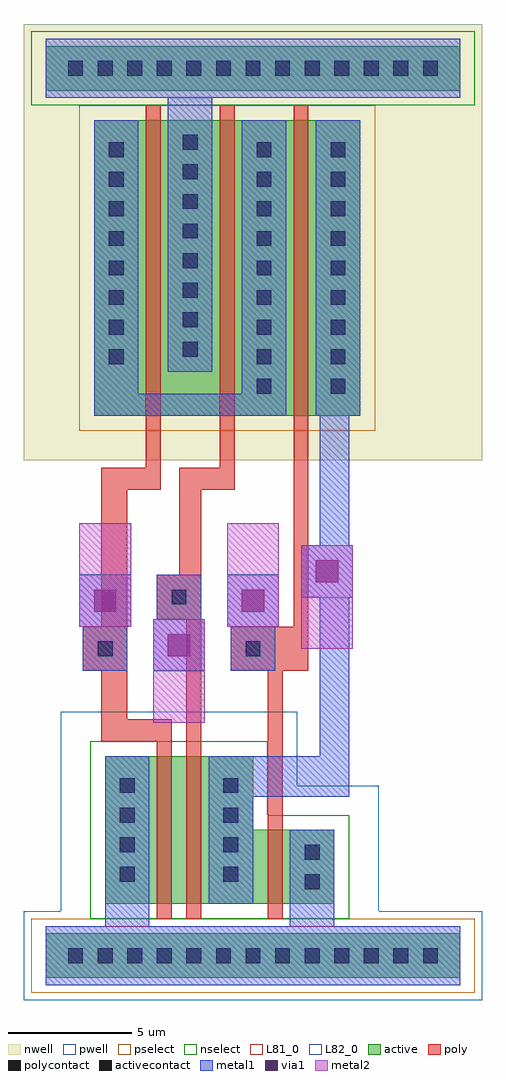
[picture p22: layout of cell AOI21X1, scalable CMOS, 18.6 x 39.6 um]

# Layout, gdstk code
import gdstk
lib = gdstk.Library(unit=1e-6, precision=1e-09)
def R(c, l, rs):  # rectangles x0, y0, x1, y1
    for r in rs: c.add(gdstk.rectangle(r[:2], r[2:], *l))
def A(c, l, x, y, w, h, nx, ny, dx, dy):  # array of equal rectangles
    R(c, l, [(x+i*dx, y+j*dy, x+i*dx+w, y+j*dy+h) for i in range(nx) for j in range(ny)])
pwell = (41, 0)
nwell = (42, 0)
active = (43, 0)
pselect = (44, 0)
nselect = (45, 0)
poly = (46, 0)
polycontact = (47, 0)
activecontact = (48, 0)
metal1 = (49, 0)
via1 = (50, 0)
metal2 = (51, 0)
L81_0 = (81, 0)
L82_0 = (82, 0)

aoi21x1 = lib.new_cell('AOI21X1')
R(aoi21x1, pwell, [(-1.8,-1.8,16.8,1.8), (-0.3,1.8,12.6,6.9), (-0.3,6.9,9.3,9.9)])
R(aoi21x1, nwell, [(-1.8,20.1,16.8,37.8)])
R(aoi21x1, active, [(-0.9,-0.9,15.9,0.9), (1.5,2.1,10.8,5.1), (1.5,5.1,7.5,8.1), (1.05,21.9,11.85,33.9), (-0.9,35.1,15.9,36.9)])
R(aoi21x1, pselect, [(-1.5,-1.5,16.5,1.5), (0.45,21.3,12.45,34.5)])
R(aoi21x1, nselect, [(0.9,1.5,11.4,5.7), (0.9,5.7,8.1,8.7), (-1.5,34.5,16.5,37.5)])
R(aoi21x1, poly, [(3.6,1.5,4.2,8.7), (4.8,1.5,5.4,13.65), (8.1,1.5,8.7,11.55), (1.35,8.7,4.2,9.6), (1.35,9.6,2.4,11.55), (0.6,11.55,2.4,13.35), (6.6,11.55,9.75,13.35), (1.35,13.35,2.4,18.9), (9.15,13.35,9.75,34.5), (3.6,13.65,5.4,15.45), (4.5,15.45,5.4,18.9), (1.35,18.9,3.75,19.8), (4.5,18.9,6.75,19.8), (3.15,19.8,3.75,34.5), (6.15,19.8,6.75,34.5)])
R(aoi21x1, polycontact, [(1.2,12.15,1.8,12.75), (7.2,12.15,7.8,12.75), (4.2,14.25,4.8,14.85)])
A(aoi21x1, activecontact, 0, -0.3, 0.6, 0.6, 13, 2, 1.2, 36)
A(aoi21x1, activecontact, 2.1, 3, 0.6, 0.6, 1, 4, 0, 1.2)
A(aoi21x1, activecontact, 6.3, 3, 0.6, 0.6, 1, 4, 0, 1.2)
A(aoi21x1, activecontact, 7.65, 22.8, 0.6, 0.6, 1, 9, 0, 1.2)
A(aoi21x1, activecontact, 10.65, 22.8, 0.6, 0.6, 1, 9, 0, 1.2)
A(aoi21x1, activecontact, 1.65, 24, 0.6, 0.6, 1, 8, 0, 1.2)
A(aoi21x1, activecontact, 4.65, 24.3, 0.6, 0.6, 1, 8, 0, 1.2)
R(aoi21x1, activecontact, [(9.6,2.7,10.2,3.3), (9.6,3.9,10.2,4.5)])
R(aoi21x1, metal1, [(-0.9,-1.2,15.9,1.2), (1.5,1.2,3.3,8.1), (9,1.2,10.8,5.1), (5.7,2.1,7.5,6.45), (5.7,6.45,11.4,8.1), (10.2,8.1,11.4,14.55), (0.6,11.55,2.4,13.35), (3.45,11.55,5.55,13.65), (6.6,11.55,8.4,13.35), (0.45,13.35,2.55,15.45), (6.45,13.35,8.55,15.45), (3.6,13.65,5.4,15.45), (9.45,14.55,11.55,16.65), (10.2,16.65,11.4,21.9), (1.05,21.9,8.85,22.8), (10.05,21.9,11.85,33.9), (1.05,22.8,2.85,33.9), (7.05,22.8,8.85,33.9), (4.05,23.7,5.85,34.8), (-0.9,34.8,15.9,37.2)])
R(aoi21x1, via1, [(4.05,12.15,4.95,13.05), (1.05,13.95,1.95,14.85), (7.05,13.95,7.95,14.85), (10.05,15.15,10.95,16.05)])
R(aoi21x1, metal2, [(3.45,9.45,5.55,13.65), (9.45,12.45,11.55,16.65), (0.45,13.35,2.55,17.55), (6.45,13.35,8.55,17.55)])
R(aoi21x1, L81_0, [(-0.9,-1.2,15.9,1.2), (-0.9,34.8,15.9,37.2)])
R(aoi21x1, L82_0, [(3.45,9.45,5.55,11.55), (9.45,12.45,11.55,14.55), (0.45,15.45,2.55,17.55), (6.45,15.45,8.55,17.55)])

lib.write_gds('AOI21X1.gds')
